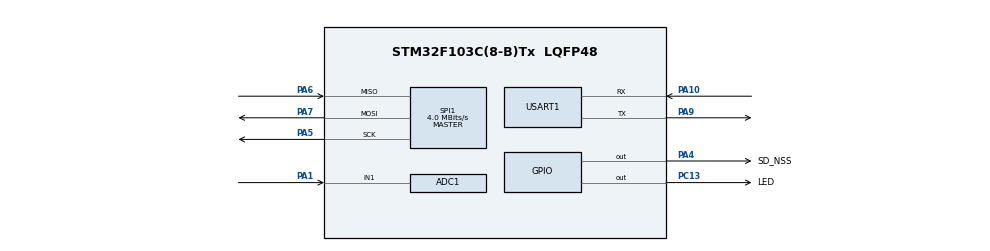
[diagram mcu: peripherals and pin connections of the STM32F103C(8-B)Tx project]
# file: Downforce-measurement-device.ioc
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ADC1.Channel-1\#ChannelRegularConversion=ADC_CHANNEL_1
ADC1.NbrOfConversionFlag=1
ADC1.Rank-1\#ChannelRegularConversion=1
ADC1.SamplingTime-1\#ChannelRegularConversion=ADC_SAMPLETIME_1CYCLE_5
ADC1.master=1
FATFS._FS_TINY=0
FREERTOS.Queues01=Queue_UART_RX,128,char,0,Dynamic,NULL,NULL;Queue_UART_TX,128,char,0,Dynamic,NULL,NULL
FREERTOS.Tasks01=ADC_LightSensor,24,512,Tsk_ADC_LightSensor,Default,NULL,Dynamic,NULL,NULL;UART_TX,8,128,Tsk_UART_TX,Default,NULL,Dynamic,NULL,NULL;LED,8,128,Tsk_LED,Default,NULL,Dynamic,NULL,NULL;UART_RX,8,128,Tsk_UART_RX,Default,NULL,Dynamic,NULL,NULL
FREERTOS.configCHECK_FOR_STACK_OVERFLOW=2
FREERTOS.configTOTAL_HEAP_SIZE=6144
Mcu.Family=STM32F1
Mcu.Name=STM32F103C(8-B)Tx
Mcu.Package=LQFP48
Mcu.UserConstants=HAL_SD_MODULE_ENABLED,1
NVIC.PriorityGroup=NVIC_PRIORITYGROUP_4
NVIC.TIM1_UP_IRQn=true\:0\:0\:false\:false\:true\:false\:false\:true
NVIC.TimeBase=TIM1_UP_IRQn
NVIC.TimeBaseIP=TIM1
NVIC.USART1_IRQn=true\:5\:0\:false\:false\:true\:true\:true\:true
PA1.Signal=ADCx_IN1
PA10.Mode=Asynchronous
PA10.Signal=USART1_RX
PA13.Mode=Serial_Wire
PA13.Signal=SYS_JTMS-SWDIO
PA14.Mode=Serial_Wire
PA14.Signal=SYS_JTCK-SWCLK
PA4.GPIO_Label=SD_NSS
PA4.GPIO_Speed=GPIO_SPEED_FREQ_HIGH
PA4.Signal=GPIO_Output
PA5.Mode=Full_Duplex_Master
PA5.Signal=SPI1_SCK
PA6.Mode=Full_Duplex_Master
PA6.Signal=SPI1_MISO
PA7.Mode=Full_Duplex_Master
PA7.Signal=SPI1_MOSI
PA9.Mode=Asynchronous
PA9.Signal=USART1_TX
PC13-TAMPER-RTC.GPIO_Label=LED
PC13-TAMPER-RTC.GPIO_Speed=GPIO_SPEED_FREQ_LOW
PC13-TAMPER-RTC.Signal=GPIO_Output
PC14-OSC32_IN.Mode=LSE-External-Oscillator
PC14-OSC32_IN.Signal=RCC_OSC32_IN
PC15-OSC32_OUT.Mode=LSE-External-Oscillator
PC15-OSC32_OUT.Signal=RCC_OSC32_OUT
PD0-OSC_IN.Mode=HSE-External-Oscillator
PD0-OSC_IN.Signal=RCC_OSC_IN
PD1-OSC_OUT.Mode=HSE-External-Oscillator
PD1-OSC_OUT.Signal=RCC_OSC_OUT
ProjectManager.HeapSize=0x200
ProjectManager.StackSize=0x400
ProjectManager.TargetToolchain=Makefile
RCC.APB1Freq_Value=8000000
RCC.APB1TimFreq_Value=8000000
RCC.APB2Freq_Value=8000000
RTC.Date=29
RTC.Hours=17
RTC.Month=RTC_MONTH_FEBRUARY
RTC.Seconds=30
RTC.WeekDay=RTC_WEEKDAY_SATURDAY
RTC.Year=20
SH.ADCx_IN1.0=ADC1_IN1,IN1
SPI1.CLKPolarity=SPI_POLARITY_LOW
SPI1.CalculateBaudRate=4.0 MBits/s
SPI1.Direction=SPI_DIRECTION_2LINES
SPI1.Mode=SPI_MODE_MASTER
SPI1.VirtualType=VM_MASTER
USART1.VirtualMode=VM_ASYNC
VP_FATFS_VS_Generic.Mode=User_defined
VP_FREERTOS_VS_CMSIS_V2.Mode=CMSIS_V2
VP_RTC_No_RTC_Output.Mode=RTC_OUT_NO
VP_RTC_VS_RTC_Activate.Mode=RTC_Enabled
VP_SYS_VS_tim1.Mode=TIM1
board=custom

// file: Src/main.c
/* USER CODE BEGIN Header */
/**
  ******************************************************************************
  * @file           : main.c
  * @brief          : Main program body
  ******************************************************************************
  * @attention
  *
  * <h2><center>&copy; Copyright (c) 2020 STMicroelectronics.
  * All rights reserved.</center></h2>
  *
  * This software component is licensed by ST under Ultimate Liberty license
  * SLA0044, the "License"; You may not use this file except in compliance with
  * the License. You may obtain a copy of the License at:
  *                             www.st.com/SLA0044
  *
  ******************************************************************************
  */
/* USER CODE END Header */

#include "main.h"
#include "cmsis_os.h"
#include "fatfs.h"

/* USER CODE BEGIN Includes */
#include <stdio.h>
#include <string.h>
#include "sd_io.h"
#include "ADC.h"
#include "UART.h"
/* USER CODE END Includes */

/* USER CODE BEGIN PD */
#define _SYNC_t   osSemaphoreId_t
/* USER CODE END PD */

ADC_HandleTypeDef hadc1;

RTC_HandleTypeDef hrtc;

SPI_HandleTypeDef hspi1;

UART_HandleTypeDef huart1;

/* Definitions for ADC_LightSensor */
osThreadId_t ADC_LightSensorHandle;
const osThreadAttr_t ADC_LightSensor_attributes = {
  .name = "ADC_LightSensor",
  .priority = (osPriority_t) osPriorityNormal,
  .stack_size = 512
};
/* Definitions for UART_TX */
osThreadId_t UART_TXHandle;
const osThreadAttr_t UART_TX_attributes = {
  .name = "UART_TX",
  .priority = (osPriority_t) osPriorityLow,
  .stack_size = 128
};
/* Definitions for LED */
osThreadId_t LEDHandle;
const osThreadAttr_t LED_attributes = {
  .name = "LED",
  .priority = (osPriority_t) osPriorityLow,
  .stack_size = 128
};
/* Definitions for UART_RX */
osThreadId_t UART_RXHandle;
const osThreadAttr_t UART_RX_attributes = {
  .name = "UART_RX",
  .priority = (osPriority_t) osPriorityLow,
  .stack_size = 128
};
/* Definitions for Queue_UART_RX */
osMessageQueueId_t Queue_UART_RXHandle;
const osMessageQueueAttr_t Queue_UART_RX_attributes = {
  .name = "Queue_UART_RX"
};
/* Definitions for Queue_UART_TX */
osMessageQueueId_t Queue_UART_TXHandle;
const osMessageQueueAttr_t Queue_UART_TX_attributes = {
  .name = "Queue_UART_TX"
};

void SystemClock_Config(void);
static void MX_GPIO_Init(void);
static void MX_USART1_UART_Init(void);
static void MX_ADC1_Init(void);
static void MX_RTC_Init(void);
static void MX_SPI1_Init(void);
void Tsk_ADC_LightSensor(void *argument);
void Tsk_UART_TX(void *argument);
void Tsk_LED(void *argument);
void Tsk_UART_RX(void *argument);

int main(void)
{
  /* USER CODE BEGIN 1 */
  char write_buffer[512] = "New uSD card test message.\n";
  /* USER CODE END 1 */

  /* MCU Configuration--------------------------------------------------------*/

  /* Reset of all peripherals, Initializes the Flash interface and the Systick. */
  HAL_Init();

  /* Configure the system clock */
  SystemClock_Config();

  /* Initialize all configured peripherals */
  MX_GPIO_Init();
  MX_USART1_UART_Init();
  MX_ADC1_Init();
  MX_RTC_Init();
  MX_SPI1_Init();
  MX_FATFS_Init();
  /* USER CODE BEGIN 2 */
  if ( retUSER == 0 )
  {
      strcpy ( &write_buffer[0], "retUSER = 0; FATFS_LinkDriver returned okay.\n" );
      HAL_UART_Transmit(&huart1, (uint8_t *)write_buffer, (uint8_t)strlen(write_buffer), HAL_MAX_DELAY);

      retUSER = f_mount( &USERFatFS, (TCHAR const*)USERPath, 1);
      if( retUSER == FR_OK )
      {
          sprintf(&write_buffer[0], "f_mount = FR_OK.\nUSERPath = %s\n", USERPath);
          HAL_UART_Transmit(&huart1, (uint8_t *)write_buffer, (uint8_t)strlen(write_buffer), HAL_MAX_DELAY);

          retUSER = f_open( &USERFile, "config.txt", FA_READ );
          if( retUSER == FR_OK )
          {
              strcpy(&write_buffer[0], "f_open = FR_OK.\n");
              HAL_UART_Transmit(&huart1, (uint8_t *)write_buffer, (uint8_t)strlen(write_buffer), HAL_MAX_DELAY);

              while( f_gets( &write_buffer[0], sizeof write_buffer, &USERFile ) )
              {
                  HAL_UART_Transmit(&huart1, (uint8_t *)write_buffer, (uint8_t)strlen(write_buffer), HAL_MAX_DELAY);
              }

              f_close( &USERFile );
          }
          else
          {
              sprintf(&write_buffer[0], "f_open failed; result = %d\n", retUSER);
              HAL_UART_Transmit(&huart1, (uint8_t *)write_buffer, (uint8_t)strlen(write_buffer), HAL_MAX_DELAY);
          }

          retUSER = f_open( &USERFile, "syslog.txt", FA_CREATE_ALWAYS | FA_WRITE );
          if( retUSER == FR_OK )
          {
              uint32_t write_bytes = 0;
              strcpy(&write_buffer[0], "Testing syslog.txt.\n");

              retUSER = f_write( &USERFile, &write_buffer[0], sizeof(write_buffer), (void *)&write_bytes );
              if ( retUSER == FR_OK )
              {
                  strcpy(&write_buffer[0], "f_write = FR_OK.\n");
                  HAL_UART_Transmit(&huart1, (uint8_t *)write_buffer, (uint8_t)strlen(write_buffer), HAL_MAX_DELAY);

                  f_close( &USERFile );
              }
              else
              {
                  sprintf(&write_buffer[0], "f_write failed; result = %d\n", retUSER);
                  HAL_UART_Transmit(&huart1, (uint8_t *)write_buffer, (uint8_t)strlen(write_buffer), HAL_MAX_DELAY);
              }
          }
          else
          {
              sprintf(&write_buffer[0], "f_open failed; result = %d.\n", retUSER);
              HAL_UART_Transmit(&huart1, (uint8_t *)write_buffer, (uint8_t)strlen(write_buffer), HAL_MAX_DELAY);
          }
      }
      else
      {
          sprintf(&write_buffer[0], "f_mount != FR_OK; result = %d.\n", retUSER);
          HAL_UART_Transmit(&huart1, (uint8_t *)write_buffer, (uint8_t)strlen(write_buffer), HAL_MAX_DELAY);
      }

      FATFS_UnLinkDriver( USERPath );
  }
  else
  {
      strcpy(&write_buffer[0], "retUSR != 0; FATFS_LinkDriver returned with error.\n");
      HAL_UART_Transmit(&huart1, (uint8_t *)write_buffer, (uint8_t)strlen(write_buffer), HAL_MAX_DELAY);
  }

  /* USER CODE END 2 */
  /* Init scheduler */
  osKernelInitialize();

  /* Create the queue(s) */
  /* creation of Queue_UART_RX */
  Queue_UART_RXHandle = osMessageQueueNew (128, sizeof(char), &Queue_UART_RX_attributes);

  /* creation of Queue_UART_TX */
  Queue_UART_TXHandle = osMessageQueueNew (128, sizeof(char), &Queue_UART_TX_attributes);

  /* Create the thread(s) */
  /* creation of ADC_LightSensor */
  ADC_LightSensorHandle = osThreadNew(Tsk_ADC_LightSensor, NULL, &ADC_LightSensor_attributes);

  /* creation of UART_TX */
  UART_TXHandle = osThreadNew(Tsk_UART_TX, NULL, &UART_TX_attributes);

  /* creation of LED */
  LEDHandle = osThreadNew(Tsk_LED, NULL, &LED_attributes);

  /* creation of UART_RX */
  UART_RXHandle = osThreadNew(Tsk_UART_RX, NULL, &UART_RX_attributes);

  /* Start scheduler */
  osKernelStart();

  /* We should never get here as control is now taken by the scheduler */

  /* Infinite loop */
  while (1)
  {

  }
}

void SystemClock_Config(void)
{
  RCC_OscInitTypeDef RCC_OscInitStruct = {0};
  RCC_ClkInitTypeDef RCC_ClkInitStruct = {0};
  RCC_PeriphCLKInitTypeDef PeriphClkInit = {0};

  /** Initializes the CPU, AHB and APB busses clocks
  */
  RCC_OscInitStruct.OscillatorType = RCC_OSCILLATORTYPE_HSI|RCC_OSCILLATORTYPE_LSI;
  RCC_OscInitStruct.HSIState = RCC_HSI_ON;
  RCC_OscInitStruct.HSICalibrationValue = RCC_HSICALIBRATION_DEFAULT;
  RCC_OscInitStruct.LSIState = RCC_LSI_ON;
  RCC_OscInitStruct.PLL.PLLState = RCC_PLL_NONE;
  if (HAL_RCC_OscConfig(&RCC_OscInitStruct) != HAL_OK)
  {
    Error_Handler();
  }
  /** Initializes the CPU, AHB and APB busses clocks
  */
  RCC_ClkInitStruct.ClockType = RCC_CLOCKTYPE_HCLK|RCC_CLOCKTYPE_SYSCLK
                              |RCC_CLOCKTYPE_PCLK1|RCC_CLOCKTYPE_PCLK2;
  RCC_ClkInitStruct.SYSCLKSource = RCC_SYSCLKSOURCE_HSI;
  RCC_ClkInitStruct.AHBCLKDivider = RCC_SYSCLK_DIV1;
  RCC_ClkInitStruct.APB1CLKDivider = RCC_HCLK_DIV1;
  RCC_ClkInitStruct.APB2CLKDivider = RCC_HCLK_DIV1;

  if (HAL_RCC_ClockConfig(&RCC_ClkInitStruct, FLASH_LATENCY_0) != HAL_OK)
  {
    Error_Handler();
  }
  PeriphClkInit.PeriphClockSelection = RCC_PERIPHCLK_RTC|RCC_PERIPHCLK_ADC;
  PeriphClkInit.RTCClockSelection = RCC_RTCCLKSOURCE_LSI;
  PeriphClkInit.AdcClockSelection = RCC_ADCPCLK2_DIV2;
  if (HAL_RCCEx_PeriphCLKConfig(&PeriphClkInit) != HAL_OK)
  {
    Error_Handler();
  }
}

static void MX_ADC1_Init(void)
{

  ADC_ChannelConfTypeDef sConfig = {0};

  /** Common config
  */
  hadc1.Instance = ADC1;
  hadc1.Init.ScanConvMode = ADC_SCAN_DISABLE;
  hadc1.Init.ContinuousConvMode = DISABLE;
  hadc1.Init.DiscontinuousConvMode = DISABLE;
  hadc1.Init.ExternalTrigConv = ADC_SOFTWARE_START;
  hadc1.Init.DataAlign = ADC_DATAALIGN_RIGHT;
  hadc1.Init.NbrOfConversion = 1;
  if (HAL_ADC_Init(&hadc1) != HAL_OK)
  {
    Error_Handler();
  }
  /** Configure Regular Channel
  */
  sConfig.Channel = ADC_CHANNEL_1;
  sConfig.Rank = ADC_REGULAR_RANK_1;
  sConfig.SamplingTime = ADC_SAMPLETIME_1CYCLE_5;
  if (HAL_ADC_ConfigChannel(&hadc1, &sConfig) != HAL_OK)
  {
    Error_Handler();
  }

}

static void MX_RTC_Init(void)
{

  RTC_TimeTypeDef sTime = {0};
  RTC_DateTypeDef DateToUpdate = {0};

  /** Initialize RTC Only
  */
  hrtc.Instance = RTC;
  hrtc.Init.AsynchPrediv = RTC_AUTO_1_SECOND;
  hrtc.Init.OutPut = RTC_OUTPUTSOURCE_NONE;
  if (HAL_RTC_Init(&hrtc) != HAL_OK)
  {
    Error_Handler();
  }

  /** Initialize RTC and set the Time and Date
  */
  sTime.Hours = 0x17;
  sTime.Minutes = 0x0;
  sTime.Seconds = 0x30;

  if (HAL_RTC_SetTime(&hrtc, &sTime, RTC_FORMAT_BCD) != HAL_OK)
  {
    Error_Handler();
  }
  DateToUpdate.WeekDay = RTC_WEEKDAY_SATURDAY;
  DateToUpdate.Month = RTC_MONTH_FEBRUARY;
  DateToUpdate.Date = 0x29;
  DateToUpdate.Year = 0x20;

  if (HAL_RTC_SetDate(&hrtc, &DateToUpdate, RTC_FORMAT_BCD) != HAL_OK)
  {
    Error_Handler();
  }

}

static void MX_SPI1_Init(void)
{

  /* SPI1 parameter configuration*/
  hspi1.Instance = SPI1;
  hspi1.Init.Mode = SPI_MODE_MASTER;
  hspi1.Init.Direction = SPI_DIRECTION_2LINES;
  hspi1.Init.DataSize = SPI_DATASIZE_8BIT;
  hspi1.Init.CLKPolarity = SPI_POLARITY_LOW;
  hspi1.Init.CLKPhase = SPI_PHASE_1EDGE;
  hspi1.Init.NSS = SPI_NSS_SOFT;
  hspi1.Init.BaudRatePrescaler = SPI_BAUDRATEPRESCALER_2;
  hspi1.Init.FirstBit = SPI_FIRSTBIT_MSB;
  hspi1.Init.TIMode = SPI_TIMODE_DISABLE;
  hspi1.Init.CRCCalculation = SPI_CRCCALCULATION_DISABLE;
  hspi1.Init.CRCPolynomial = 10;
  if (HAL_SPI_Init(&hspi1) != HAL_OK)
  {
    Error_Handler();
  }

}

static void MX_USART1_UART_Init(void)
{

  huart1.Instance = USART1;
  huart1.Init.BaudRate = 115200;
  huart1.Init.WordLength = UART_WORDLENGTH_8B;
  huart1.Init.StopBits = UART_STOPBITS_1;
  huart1.Init.Parity = UART_PARITY_NONE;
  huart1.Init.Mode = UART_MODE_TX_RX;
  huart1.Init.HwFlowCtl = UART_HWCONTROL_NONE;
  huart1.Init.OverSampling = UART_OVERSAMPLING_16;
  if (HAL_UART_Init(&huart1) != HAL_OK)
  {
    Error_Handler();
  }

}

static void MX_GPIO_Init(void)
{
  GPIO_InitTypeDef GPIO_InitStruct = {0};

  /* GPIO Ports Clock Enable */
  __HAL_RCC_GPIOC_CLK_ENABLE();
  __HAL_RCC_GPIOD_CLK_ENABLE();
  __HAL_RCC_GPIOA_CLK_ENABLE();

  /*Configure GPIO pin Output Level */
  HAL_GPIO_WritePin(LED_GPIO_Port, LED_Pin, GPIO_PIN_RESET);

  /*Configure GPIO pin Output Level */
  HAL_GPIO_WritePin(SD_NSS_GPIO_Port, SD_NSS_Pin, GPIO_PIN_RESET);

  /*Configure GPIO pin : LED_Pin */
  GPIO_InitStruct.Pin = LED_Pin;
  GPIO_InitStruct.Mode = GPIO_MODE_OUTPUT_PP;
  GPIO_InitStruct.Pull = GPIO_NOPULL;
  GPIO_InitStruct.Speed = GPIO_SPEED_FREQ_LOW;
  HAL_GPIO_Init(LED_GPIO_Port, &GPIO_InitStruct);

  /*Configure GPIO pin : SD_NSS_Pin */
  GPIO_InitStruct.Pin = SD_NSS_Pin;
  GPIO_InitStruct.Mode = GPIO_MODE_OUTPUT_PP;
  GPIO_InitStruct.Pull = GPIO_NOPULL;
  GPIO_InitStruct.Speed = GPIO_SPEED_FREQ_HIGH;
  HAL_GPIO_Init(SD_NSS_GPIO_Port, &GPIO_InitStruct);

}

void Tsk_ADC_LightSensor(void *argument)
{
  /* USER CODE BEGIN 5 */

  /* Infinite loop */
  for(;;)
  {
    Thread_ADC_LightSensor();
  }
  /* USER CODE END 5 */
}

void Tsk_UART_TX(void *argument)
{
  /* USER CODE BEGIN Tsk_UART_TX */

  /* Infinite loop */
  for(;;)
  {
      Thread_UART_TX();
  }
  /* USER CODE END Tsk_UART_TX */
}

void Tsk_LED(void *argument)
{
  /* USER CODE BEGIN Tsk_LED */
  //volatile uint32_t * GPIOC_BSRR = (uint32_t *) 0x40011010;
  //volatile uint32_t * GPIOC_BRR = (uint32_t *) 0x40011014;
  /* Infinite loop */
  for(;;)
  {
    /*
    *GPIOC_BRR |= (0x1 << 13);
    osDelay(500);
    *GPIOC_BSRR |= (0x1 << 13);
    osDelay(500);
    */
  }
  /* USER CODE END Tsk_LED */
}

void Tsk_UART_RX(void *argument)
{
  /* USER CODE BEGIN Tsk_UART_RX */

  /* Infinite loop */
  for(;;)
  {
      Thread_UART_RX();
  }
  /* USER CODE END Tsk_UART_RX */
}

void HAL_TIM_PeriodElapsedCallback(TIM_HandleTypeDef *htim)
{
  if (htim->Instance == TIM1) {
    HAL_IncTick();
  }
}

void Error_Handler(void)
{
  /* USER CODE BEGIN Error_Handler_Debug */
  /* User can add his own implementation to report the HAL error return state */
  for (;;);
  /* USER CODE END Error_Handler_Debug */
}

/************************ (C) COPYRIGHT STMicroelectronics *****END OF FILE****/
